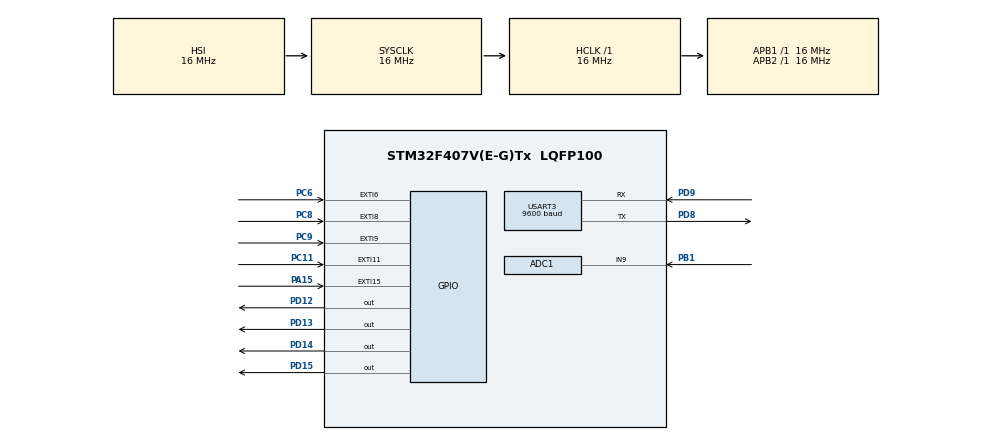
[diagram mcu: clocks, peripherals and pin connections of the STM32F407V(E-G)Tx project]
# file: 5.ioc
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ADC1.Channel-0\#ChannelRegularConversion=ADC_CHANNEL_9
ADC1.ContinuousConvMode=ENABLE
ADC1.ExternalTrigConv=ADC_EXTERNALTRIGCONV_T4_CC4
ADC1.InjNumberOfConversion=0
ADC1.NbrOfConversion=1
ADC1.NbrOfConversionFlag=1
ADC1.Rank-0\#ChannelRegularConversion=1
ADC1.SamplingTime-0\#ChannelRegularConversion=ADC_SAMPLETIME_480CYCLES
ADC1.master=1
Mcu.Family=STM32F4
Mcu.Name=STM32F407V(E-G)Tx
Mcu.Package=LQFP100
NVIC.ADC_IRQn=true\:0\:0\:false\:false\:true\:true\:true
NVIC.EXTI15_10_IRQn=true\:0\:0\:false\:false\:true\:true\:true
NVIC.EXTI9_5_IRQn=true\:0\:0\:false\:false\:true\:true\:true
NVIC.PriorityGroup=NVIC_PRIORITYGROUP_4
PA15.Signal=GPXTI15
PB1.Signal=ADCx_IN9
PC11.Signal=GPXTI11
PC6.Signal=GPXTI6
PC8.Signal=GPXTI8
PC9.Signal=GPXTI9
PD12.Signal=GPIO_Output
PD13.Signal=GPIO_Output
PD14.Signal=GPIO_Output
PD15.Signal=GPIO_Output
PD8.Mode=Asynchronous
PD8.Signal=USART3_TX
PD9.Mode=Asynchronous
PD9.Signal=USART3_RX
ProjectManager.HeapSize=0x200
ProjectManager.StackSize=0x400
ProjectManager.TargetToolchain=STM32CubeIDE
RCC.AHBFreq_Value=16000000
RCC.APB1Freq_Value=16000000
RCC.APB2Freq_Value=16000000
RCC.CortexFreq_Value=16000000
RCC.HSE_VALUE=25000000
RCC.HSI_VALUE=16000000
RCC.LSE_VALUE=32768
RCC.SYSCLKFreq_VALUE=16000000
RCC.VCOOutputFreq_Value=192000000
SH.ADCx_IN9.0=ADC1_IN9,IN9
TIM4.Channel-Output\ Compare4\ No\ Output=TIM_CHANNEL_4
TIM4.OCMode_4=TIM_OCMODE_TOGGLE
TIM4.Period=2500
TIM4.Prescaler=15999
USART3.BaudRate=9600
USART3.VirtualMode=VM_ASYNC
VP_TIM4_VS_ClockSourceINT.Mode=Internal
VP_TIM4_VS_no_output4.Mode=Output Compare4 No Output
board=custom

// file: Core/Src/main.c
/* USER CODE BEGIN Header */
/**
 ******************************************************************************
 * @file           : main.c
 * @brief          : Main program body
 ******************************************************************************
 * @attention
 *
 * <h2><center>&copy; Copyright (c) 2021 STMicroelectronics.
 * All rights reserved.</center></h2>
 *
 * This software component is licensed by ST under BSD 3-Clause license,
 * the "License"; You may not use this file except in compliance with the
 * License. You may obtain a copy of the License at:
 *                        opensource.org/licenses/BSD-3-Clause
 *
 ******************************************************************************
 */
/* USER CODE END Header */
#include "main.h"

/* USER CODE BEGIN Includes */
#include "stdio.h"
#include "stdlib.h"
/* USER CODE END Includes */

ADC_HandleTypeDef hadc1;

TIM_HandleTypeDef htim4;

UART_HandleTypeDef huart3;

/* USER CODE BEGIN PV */
const uint8_t *color[4] = { "Green\0", "Orange\0", "Red\0", "Blue\0" };
enum {
	Green, Orange, Red, Blue
};
/* USER CODE END PV */

void SystemClock_Config(void);
static void MX_GPIO_Init(void);
static void MX_USART3_UART_Init(void);
static void MX_ADC1_Init(void);
static void MX_TIM4_Init(void);
/* USER CODE BEGIN PFP */
void OnOffLed(uint8_t *color, uint16_t pin);

/* USER CODE END PFP */

int main(void)
{

  /* MCU Configuration--------------------------------------------------------*/

  /* Reset of all peripherals, Initializes the Flash interface and the Systick. */
  HAL_Init();

  /* Configure the system clock */
  SystemClock_Config();

  /* Initialize all configured peripherals */
  MX_GPIO_Init();
  MX_USART3_UART_Init();
  MX_ADC1_Init();
  MX_TIM4_Init();
  /* USER CODE BEGIN 2 */
	HAL_StatusTypeDef status;
	uint8_t buff[0];
	HAL_ADC_Start(&hadc1);
	HAL_TIM_OC_Start(&htim4, TIM_CHANNEL_4);
  /* USER CODE END 2 */

  /* Infinite loop */
  /* USER CODE BEGIN WHILE */
	uint16_t volt, temperature;
	uint8_t deg[3];
	while (1) {

		status = HAL_UART_Receive(&huart3, buff, 1, 5);
		if (status == HAL_OK) {
			switch (buff[0]) {
			case '1':
				OnOffLed(color[Green], GPIO_PIN_12);
				break;
			case '2':
				OnOffLed(color[Orange], GPIO_PIN_13);
				break;
			case '3':
				OnOffLed(color[Red], GPIO_PIN_14);
				break;
			case '4':
				OnOffLed(color[Blue], GPIO_PIN_15);
				break;
			case '0':
				HAL_ADC_Start(&hadc1);
				HAL_ADC_PollForConversion(&hadc1, 10);
				volt = HAL_ADC_GetValue(&hadc1);
				temperature = (2 / 3.3 * (4095 - volt)) * 0.02; //0 - 100 deg
				itoa(temperature, deg, 10);
				HAL_UART_Transmit(&huart3, (uint8_t*) "Temperature:  ", 15, 10);
				HAL_UART_Transmit(&huart3, deg, sizeof(deg), 10);
				HAL_UART_Transmit(&huart3, (uint8_t*) "\r\n", 2, 10);

				break;
			default:
				break;
			}
			HAL_Delay(100);
		}
    /* USER CODE END WHILE */

	}
}

void SystemClock_Config(void)
{
  RCC_OscInitTypeDef RCC_OscInitStruct = {0};
  RCC_ClkInitTypeDef RCC_ClkInitStruct = {0};

  /** Configure the main internal regulator output voltage
  */
  __HAL_RCC_PWR_CLK_ENABLE();
  __HAL_PWR_VOLTAGESCALING_CONFIG(PWR_REGULATOR_VOLTAGE_SCALE1);
  /** Initializes the RCC Oscillators according to the specified parameters
  * in the RCC_OscInitTypeDef structure.
  */
  RCC_OscInitStruct.OscillatorType = RCC_OSCILLATORTYPE_HSI;
  RCC_OscInitStruct.HSIState = RCC_HSI_ON;
  RCC_OscInitStruct.HSICalibrationValue = RCC_HSICALIBRATION_DEFAULT;
  RCC_OscInitStruct.PLL.PLLState = RCC_PLL_NONE;
  if (HAL_RCC_OscConfig(&RCC_OscInitStruct) != HAL_OK)
  {
    Error_Handler();
  }
  /** Initializes the CPU, AHB and APB buses clocks
  */
  RCC_ClkInitStruct.ClockType = RCC_CLOCKTYPE_HCLK|RCC_CLOCKTYPE_SYSCLK
                              |RCC_CLOCKTYPE_PCLK1|RCC_CLOCKTYPE_PCLK2;
  RCC_ClkInitStruct.SYSCLKSource = RCC_SYSCLKSOURCE_HSI;
  RCC_ClkInitStruct.AHBCLKDivider = RCC_SYSCLK_DIV1;
  RCC_ClkInitStruct.APB1CLKDivider = RCC_HCLK_DIV1;
  RCC_ClkInitStruct.APB2CLKDivider = RCC_HCLK_DIV1;

  if (HAL_RCC_ClockConfig(&RCC_ClkInitStruct, FLASH_LATENCY_0) != HAL_OK)
  {
    Error_Handler();
  }
}

static void MX_ADC1_Init(void)
{

  ADC_ChannelConfTypeDef sConfig = {0};

  /** Configure the global features of the ADC (Clock, Resolution, Data Alignment and number of conversion)
  */
  hadc1.Instance = ADC1;
  hadc1.Init.ClockPrescaler = ADC_CLOCK_SYNC_PCLK_DIV2;
  hadc1.Init.Resolution = ADC_RESOLUTION_12B;
  hadc1.Init.ScanConvMode = DISABLE;
  hadc1.Init.ContinuousConvMode = ENABLE;
  hadc1.Init.DiscontinuousConvMode = DISABLE;
  hadc1.Init.ExternalTrigConvEdge = ADC_EXTERNALTRIGCONVEDGE_RISING;
  hadc1.Init.ExternalTrigConv = ADC_EXTERNALTRIGCONV_T4_CC4;
  hadc1.Init.DataAlign = ADC_DATAALIGN_RIGHT;
  hadc1.Init.NbrOfConversion = 1;
  hadc1.Init.DMAContinuousRequests = DISABLE;
  hadc1.Init.EOCSelection = ADC_EOC_SINGLE_CONV;
  if (HAL_ADC_Init(&hadc1) != HAL_OK)
  {
    Error_Handler();
  }
  /** Configure for the selected ADC regular channel its corresponding rank in the sequencer and its sample time.
  */
  sConfig.Channel = ADC_CHANNEL_9;
  sConfig.Rank = 1;
  sConfig.SamplingTime = ADC_SAMPLETIME_480CYCLES;
  if (HAL_ADC_ConfigChannel(&hadc1, &sConfig) != HAL_OK)
  {
    Error_Handler();
  }

}

static void MX_TIM4_Init(void)
{

  TIM_ClockConfigTypeDef sClockSourceConfig = {0};
  TIM_MasterConfigTypeDef sMasterConfig = {0};
  TIM_OC_InitTypeDef sConfigOC = {0};

  htim4.Instance = TIM4;
  htim4.Init.Prescaler = 15999;
  htim4.Init.CounterMode = TIM_COUNTERMODE_UP;
  htim4.Init.Period = 2500;
  htim4.Init.ClockDivision = TIM_CLOCKDIVISION_DIV1;
  htim4.Init.AutoReloadPreload = TIM_AUTORELOAD_PRELOAD_DISABLE;
  if (HAL_TIM_Base_Init(&htim4) != HAL_OK)
  {
    Error_Handler();
  }
  sClockSourceConfig.ClockSource = TIM_CLOCKSOURCE_INTERNAL;
  if (HAL_TIM_ConfigClockSource(&htim4, &sClockSourceConfig) != HAL_OK)
  {
    Error_Handler();
  }
  if (HAL_TIM_OC_Init(&htim4) != HAL_OK)
  {
    Error_Handler();
  }
  sMasterConfig.MasterOutputTrigger = TIM_TRGO_RESET;
  sMasterConfig.MasterSlaveMode = TIM_MASTERSLAVEMODE_DISABLE;
  if (HAL_TIMEx_MasterConfigSynchronization(&htim4, &sMasterConfig) != HAL_OK)
  {
    Error_Handler();
  }
  sConfigOC.OCMode = TIM_OCMODE_TOGGLE;
  sConfigOC.Pulse = 0;
  sConfigOC.OCPolarity = TIM_OCPOLARITY_HIGH;
  sConfigOC.OCFastMode = TIM_OCFAST_DISABLE;
  if (HAL_TIM_OC_ConfigChannel(&htim4, &sConfigOC, TIM_CHANNEL_4) != HAL_OK)
  {
    Error_Handler();
  }

}

static void MX_USART3_UART_Init(void)
{

  huart3.Instance = USART3;
  huart3.Init.BaudRate = 9600;
  huart3.Init.WordLength = UART_WORDLENGTH_8B;
  huart3.Init.StopBits = UART_STOPBITS_1;
  huart3.Init.Parity = UART_PARITY_NONE;
  huart3.Init.Mode = UART_MODE_TX_RX;
  huart3.Init.HwFlowCtl = UART_HWCONTROL_NONE;
  huart3.Init.OverSampling = UART_OVERSAMPLING_16;
  if (HAL_UART_Init(&huart3) != HAL_OK)
  {
    Error_Handler();
  }

}

static void MX_GPIO_Init(void)
{
  GPIO_InitTypeDef GPIO_InitStruct = {0};

  /* GPIO Ports Clock Enable */
  __HAL_RCC_GPIOB_CLK_ENABLE();
  __HAL_RCC_GPIOD_CLK_ENABLE();
  __HAL_RCC_GPIOC_CLK_ENABLE();
  __HAL_RCC_GPIOA_CLK_ENABLE();

  /*Configure GPIO pin Output Level */
  HAL_GPIO_WritePin(GPIOD, GPIO_PIN_12|GPIO_PIN_13|GPIO_PIN_14|GPIO_PIN_15, GPIO_PIN_RESET);

  /*Configure GPIO pins : PD12 PD13 PD14 PD15 */
  GPIO_InitStruct.Pin = GPIO_PIN_12|GPIO_PIN_13|GPIO_PIN_14|GPIO_PIN_15;
  GPIO_InitStruct.Mode = GPIO_MODE_OUTPUT_PP;
  GPIO_InitStruct.Pull = GPIO_NOPULL;
  GPIO_InitStruct.Speed = GPIO_SPEED_FREQ_LOW;
  HAL_GPIO_Init(GPIOD, &GPIO_InitStruct);

  /*Configure GPIO pins : PC6 PC8 PC9 PC11 */
  GPIO_InitStruct.Pin = GPIO_PIN_6|GPIO_PIN_8|GPIO_PIN_9|GPIO_PIN_11;
  GPIO_InitStruct.Mode = GPIO_MODE_IT_RISING;
  GPIO_InitStruct.Pull = GPIO_NOPULL;
  HAL_GPIO_Init(GPIOC, &GPIO_InitStruct);

  /*Configure GPIO pin : PA15 */
  GPIO_InitStruct.Pin = GPIO_PIN_15;
  GPIO_InitStruct.Mode = GPIO_MODE_IT_RISING;
  GPIO_InitStruct.Pull = GPIO_NOPULL;
  HAL_GPIO_Init(GPIOA, &GPIO_InitStruct);

  /* EXTI interrupt init*/
  HAL_NVIC_SetPriority(EXTI9_5_IRQn, 0, 0);
  HAL_NVIC_EnableIRQ(EXTI9_5_IRQn);

  HAL_NVIC_SetPriority(EXTI15_10_IRQn, 0, 0);
  HAL_NVIC_EnableIRQ(EXTI15_10_IRQn);

}

/* USER CODE BEGIN 4 */
void OnOffLed(uint8_t *color, uint16_t pin) {
	HAL_GPIO_TogglePin(GPIOD, pin);
	HAL_UART_Transmit(&huart3, color, strlen(color), 10);
	if (HAL_GPIO_ReadPin(GPIOD, pin) == GPIO_PIN_SET)
		HAL_UART_Transmit(&huart3, (uint8_t*) " ON\r\n", 5, 10);
	else
		HAL_UART_Transmit(&huart3, (uint8_t*) " OFF\r\n", 6, 10);
}

void HAL_GPIO_EXTI_Callback(uint16_t GPIO_Pin) {
	switch (GPIO_Pin) {
	case GPIO_PIN_11:
		OnOffLed(color[Blue], GPIO_PIN_15);
		break;
	case GPIO_PIN_9:
		OnOffLed(color[Orange], GPIO_PIN_13);
		break;
	case GPIO_PIN_8:
		OnOffLed(color[Green], GPIO_PIN_12);
		break;
	case GPIO_PIN_6:
		OnOffLed(color[Red], GPIO_PIN_14);
		break;
	case GPIO_PIN_15:
		break;
	}
}

/*void HAL_ADC_ConvCpltCallback(ADC_HandleTypeDef *hadc) {
	uint16_t volt, temperature;
	uint8_t* deg[] = { "" };
	volt = HAL_ADC_GetValue(hadc);
	temperature = (2 / 3.3 * 4095 - 2 / 3.3 * volt) * 0.02; //0 - 100 deg
	itoa(temperature, deg, 10);

	HAL_UART_Transmit(&huart3, deg, sizeof(deg), 10);
	HAL_UART_Transmit(&huart3, (uint8_t*) "\r\n", 2, 10);
}*/

/* USER CODE END 4 */

void Error_Handler(void)
{
	__disable_irq();
	while (1) {
	}
}

/************************ (C) COPYRIGHT STMicroelectronics *****END OF FILE****/
